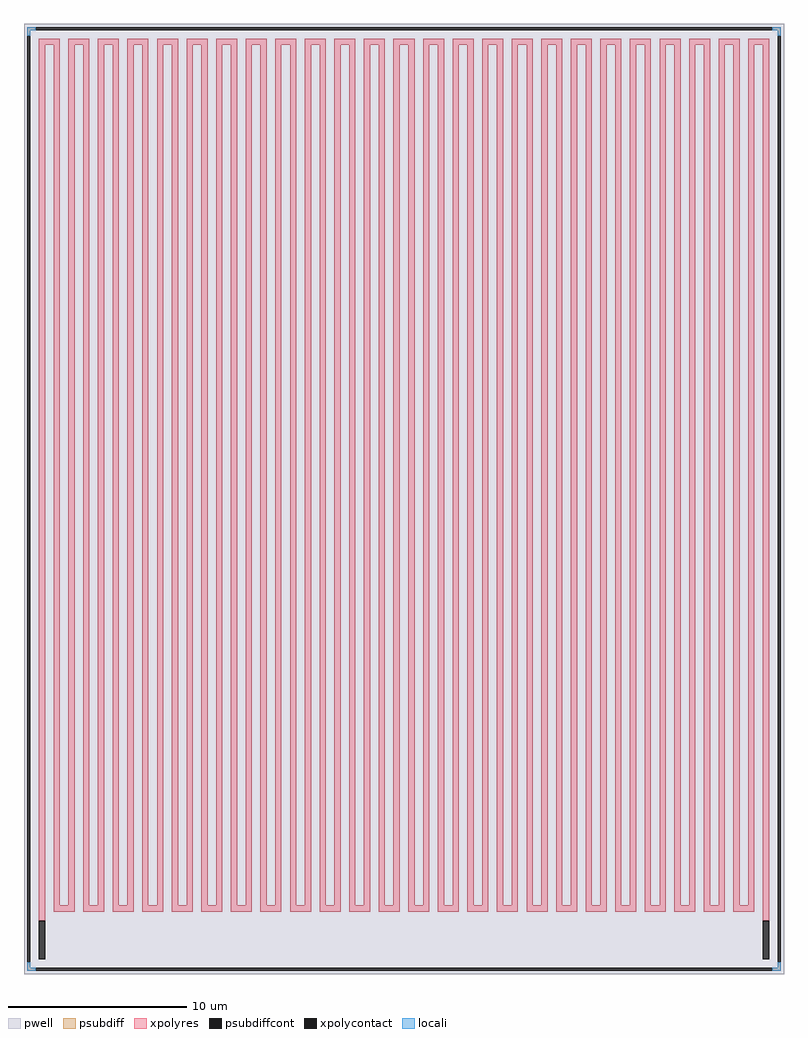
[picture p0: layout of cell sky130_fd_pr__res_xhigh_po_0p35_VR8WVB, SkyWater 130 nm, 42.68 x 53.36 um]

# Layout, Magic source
magic
tech sky130A
<< pwell >>
rect -2134 -2668 2134 2668
<< psubdiff >>
rect -2116 2633 -2068 2650
rect 2068 2633 2116 2650
rect -2116 2602 -2099 2633
rect 2099 2602 2116 2633
rect -2116 -2633 -2099 -2602
rect 2099 -2633 2116 -2602
rect -2116 -2650 -2068 -2633
rect 2068 -2650 2116 -2633
<< psubdiffcont >>
rect -2068 2633 2068 2650
rect -2116 -2602 -2099 2602
rect 2099 -2602 2116 2602
rect -2068 -2650 2068 -2633
<< xpolycontact >>
rect -2051 -2585 -2016 -2369
rect 2016 -2585 2051 -2369
<< xpolyres >>
rect -2051 2550 -1933 2585
rect -2051 -2369 -2016 2550
rect -1968 -2282 -1933 2550
rect -1885 2550 -1767 2585
rect -1885 -2282 -1850 2550
rect -1968 -2317 -1850 -2282
rect -1802 -2282 -1767 2550
rect -1719 2550 -1601 2585
rect -1719 -2282 -1684 2550
rect -1802 -2317 -1684 -2282
rect -1636 -2282 -1601 2550
rect -1553 2550 -1435 2585
rect -1553 -2282 -1518 2550
rect -1636 -2317 -1518 -2282
rect -1470 -2282 -1435 2550
rect -1387 2550 -1269 2585
rect -1387 -2282 -1352 2550
rect -1470 -2317 -1352 -2282
rect -1304 -2282 -1269 2550
rect -1221 2550 -1103 2585
rect -1221 -2282 -1186 2550
rect -1304 -2317 -1186 -2282
rect -1138 -2282 -1103 2550
rect -1055 2550 -937 2585
rect -1055 -2282 -1020 2550
rect -1138 -2317 -1020 -2282
rect -972 -2282 -937 2550
rect -889 2550 -771 2585
rect -889 -2282 -854 2550
rect -972 -2317 -854 -2282
rect -806 -2282 -771 2550
rect -723 2550 -605 2585
rect -723 -2282 -688 2550
rect -806 -2317 -688 -2282
rect -640 -2282 -605 2550
rect -557 2550 -439 2585
rect -557 -2282 -522 2550
rect -640 -2317 -522 -2282
rect -474 -2282 -439 2550
rect -391 2550 -273 2585
rect -391 -2282 -356 2550
rect -474 -2317 -356 -2282
rect -308 -2282 -273 2550
rect -225 2550 -107 2585
rect -225 -2282 -190 2550
rect -308 -2317 -190 -2282
rect -142 -2282 -107 2550
rect -59 2550 59 2585
rect -59 -2282 -24 2550
rect -142 -2317 -24 -2282
rect 24 -2282 59 2550
rect 107 2550 225 2585
rect 107 -2282 142 2550
rect 24 -2317 142 -2282
rect 190 -2282 225 2550
rect 273 2550 391 2585
rect 273 -2282 308 2550
rect 190 -2317 308 -2282
rect 356 -2282 391 2550
rect 439 2550 557 2585
rect 439 -2282 474 2550
rect 356 -2317 474 -2282
rect 522 -2282 557 2550
rect 605 2550 723 2585
rect 605 -2282 640 2550
rect 522 -2317 640 -2282
rect 688 -2282 723 2550
rect 771 2550 889 2585
rect 771 -2282 806 2550
rect 688 -2317 806 -2282
rect 854 -2282 889 2550
rect 937 2550 1055 2585
rect 937 -2282 972 2550
rect 854 -2317 972 -2282
rect 1020 -2282 1055 2550
rect 1103 2550 1221 2585
rect 1103 -2282 1138 2550
rect 1020 -2317 1138 -2282
rect 1186 -2282 1221 2550
rect 1269 2550 1387 2585
rect 1269 -2282 1304 2550
rect 1186 -2317 1304 -2282
rect 1352 -2282 1387 2550
rect 1435 2550 1553 2585
rect 1435 -2282 1470 2550
rect 1352 -2317 1470 -2282
rect 1518 -2282 1553 2550
rect 1601 2550 1719 2585
rect 1601 -2282 1636 2550
rect 1518 -2317 1636 -2282
rect 1684 -2282 1719 2550
rect 1767 2550 1885 2585
rect 1767 -2282 1802 2550
rect 1684 -2317 1802 -2282
rect 1850 -2282 1885 2550
rect 1933 2550 2051 2585
rect 1933 -2282 1968 2550
rect 1850 -2317 1968 -2282
rect 2016 -2369 2051 2550
<< locali >>
rect -2116 2633 -2068 2650
rect 2068 2633 2116 2650
rect -2116 2602 -2099 2633
rect 2099 2602 2116 2633
rect -2116 -2633 -2099 -2602
rect 2099 -2633 2116 -2602
rect -2116 -2650 -2068 -2633
rect 2068 -2650 2116 -2633
<< properties >>
string FIXED_BBOX -2107 -2641 2107 2641
string gencell sky130_fd_pr__res_xhigh_po_0p35
string library sky130
string parameters w 0.35 l 49.02 m 1 nx 50 wmin 0.350 lmin 0.50 rho 2000 val 14.104meg dummy 0 dw 0.0 term 188.2 sterm 0.0 caplen 0 wmax 0.350 guard 1 glc 1 grc 1 gtc 1 gbc 1 compatible {sky130_fd_pr__res_xhigh_po_0p35  sky130_fd_pr__res_xhigh_po_0p69 sky130_fd_pr__res_xhigh_po_1p41  sky130_fd_pr__res_xhigh_po_2p85 sky130_fd_pr__res_xhigh_po_5p73} snake 1 full_metal 1 n_guard 0 hv_guard 0 vias 1 viagb 0 viagt 0 viagl 0 viagr 0
<< end >>
